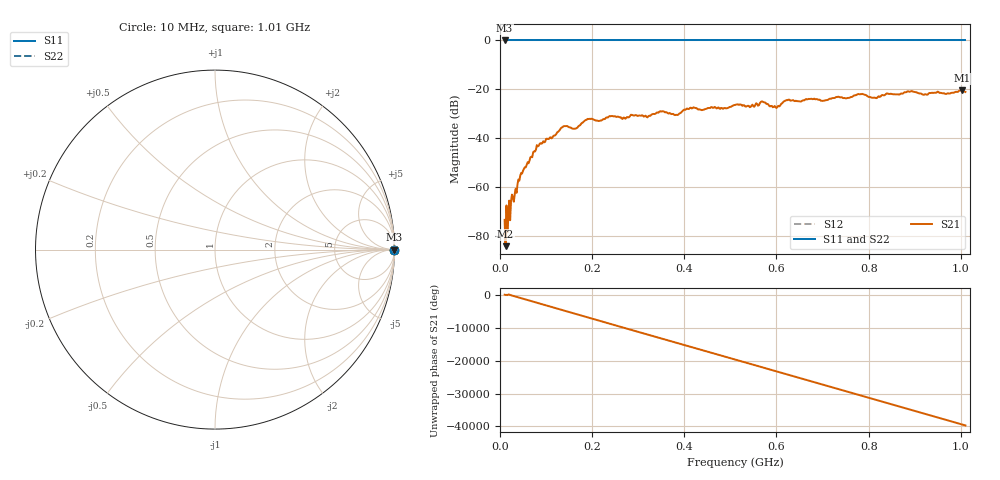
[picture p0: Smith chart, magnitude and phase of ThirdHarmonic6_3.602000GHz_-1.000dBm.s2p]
! 8/17/2025 12:00:49 PM
! C:\ANRITSUVNA\TEMP\TEMP.S2P
! CHANNEL.1
! TR.MEASUREMENT
! RAW.DATA
! RF.CORRECTION.OFF
! AVERAGING.OFF
! IF.BANDWIDTH: 5KHZ
! SWEEPTYPE:  FREQ.SWEEP(Linear)
! Reference Plane Port Info
! PORT:  PORT1  PORT2
! DISTANCE:  0  m  0  m
! TIME:  0  s  0  s
! PHASE.OFFSET:  0  deg.  0  deg.
! LOSS:  0  dB  0  dB
! REF.LOSS:  0  dB  0  dB
! REF.FREQ:  0  Hz  0  Hz
! Power Info
! POWER:  -20  dBm  -20  dBm
! EFF.POWER:  -20  dBm  -20  dBm
! SOURCE.ATTEN:  0  dB  0  dB
! TEST.ATTEN:  0  dB  0  dB
# GHZ S RI R 50.0
! FREQ.GHZ  S11RE  S11IM  S21RE  S21IM  S12RE  S12IM  S22RE  S22IM
!; PortSelection: Port_12
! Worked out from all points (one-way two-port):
!   501 points, 10 MHz to 1.01 GHz, reference 50 ohm
!   highest |S21| = -20.42 dB at 1.002 GHz (marker M1); lowest = -84.3 dB at 12 MHz (marker M2)
!   lowest |S11| = 0.0 dB at 10 MHz (marker M3)
!   |S11| at or under -10 dB: nowhere
!   |S22| runs from 0.0 to 0.0 dB; largest |S21 - S12| = 1.1
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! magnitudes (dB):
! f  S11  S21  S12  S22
! 10 MHz  0.0  -73.5  0.0  0.0
! 12 MHz  0.0  -84.3  0.0  0.0
! 20 MHz  0.0  -65.6  0.0  0.0
! 24 MHz  0.0  -65.6  0.0  0.0
! 42 MHz  0.0  -57.5  0.0  0.0
! 84 MHz  0.0  -43.2  0.0  0.0
! 136 MHz  0.0  -35.5  0.0  0.0
! 162 MHz  0.0  -36.2  0.0  0.0
! 178 MHz  0.0  -33.8  0.0  0.0
! 194 MHz  0.0  -32.1  0.0  0.0
! 322 MHz  0.0  -31.0  0.0  0.0
! 344 MHz  0.0  -29.6  0.0  0.0
! 382 MHz  0.0  -30.5  0.0  0.0
! 416 MHz  0.0  -27.9  0.0  0.0
! 510 MHz  0.0  -26.4  0.0  0.0
! 570 MHz  0.0  -25.1  0.0  0.0
! 596 MHz  0.0  -26.9  0.0  0.0
! 624 MHz  0.0  -24.5  0.0  0.0
! 678 MHz  0.0  -24.0  0.0  0.0
! 844 MHz  0.0  -21.9  0.0  0.0
! 1.002 GHz  0.0  -20.4  0.0  0.0
! 1.01 GHz  0.0  -21.1  0.0  0.0
